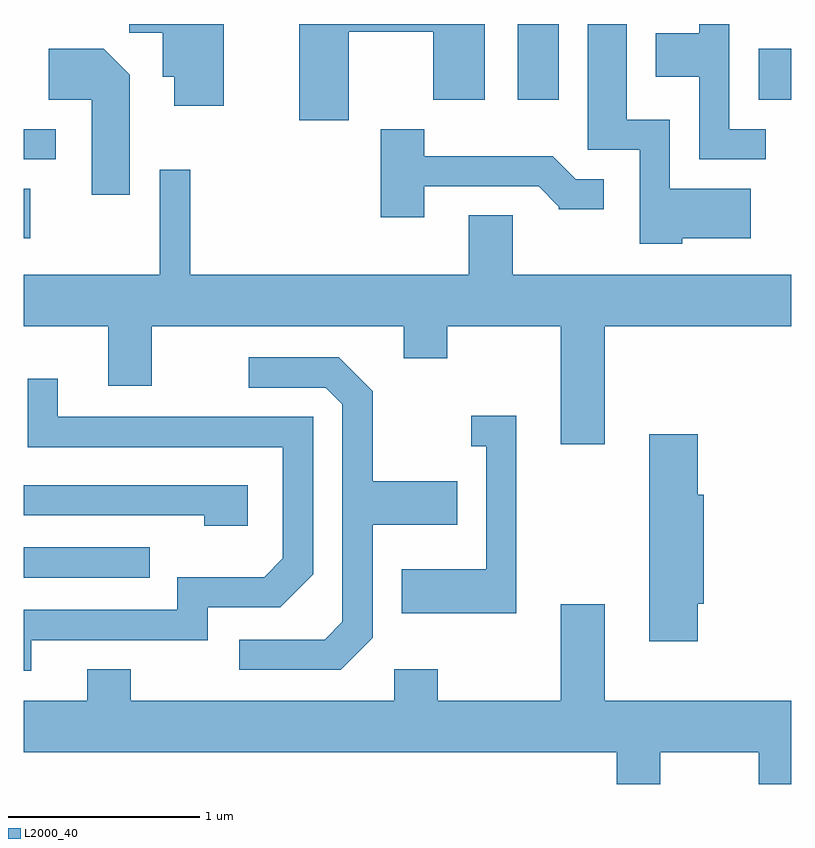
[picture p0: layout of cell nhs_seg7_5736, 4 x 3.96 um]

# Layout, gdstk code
import gdstk
lib = gdstk.Library(unit=1e-6, precision=1e-09)
def R(c, l, rs):  # rectangles x0, y0, x1, y1
    for r in rs: c.add(gdstk.rectangle(r[:2], r[2:], *l))
def P(c, l, *ps):  # polygons
    for p in ps: c.add(gdstk.Polygon(p, *l))
L2000_40 = (2000, 40)

nhs_seg7_5736 = lib.new_cell('nhs_seg7_5736')
R(nhs_seg7_5736, L2000_40, [(359.611,1797.366,360.268,1797.524), (359.611,1799.136,359.644,1799.394), (359.611,1799.546,359.778,1799.704), (362.186,1799.856,362.399,1800.252), (363.441,1799.856,363.611,1800.124)])
P(nhs_seg7_5736, L2000_40, [(363.044,1799.136),(363.399,1799.136),(363.399,1799.394),(362.979,1799.394),(362.979,1799.754),(362.754,1799.754),(362.754,1800.252),(362.551,1800.252),(362.551,1799.596),(362.821,1799.596),(362.821,1799.106),(363.044,1799.106)],
  [(363.478,1799.704),(363.289,1799.704),(363.289,1800.252),(363.131,1800.252),(363.131,1800.204),(362.906,1800.204),(362.906,1799.976),(363.131,1799.976),(363.131,1799.546),(363.478,1799.546)],
  [(361.304,1800.211),(361.746,1800.211),(361.746,1799.856),(362.014,1799.856),(362.014,1800.252),(361.046,1800.252),(361.046,1799.751),(361.304,1799.751)],
  [(360.654,1800.252),(360.161,1800.252),(360.161,1800.206),(360.336,1800.206),(360.336,1799.976),(360.396,1799.976),(360.396,1799.826),(360.654,1799.826)],
  [(360.164,1799.987),(360.027,1800.124),(359.741,1800.124),(359.741,1799.856),(359.966,1799.856),(359.966,1799.361),(360.164,1799.361)],
  [(361.699,1799.406),(362.294,1799.406),(362.4,1799.3),(362.4,1799.286),(362.633,1799.286),(362.633,1799.444),(362.487,1799.444),(362.367,1799.564),(361.699,1799.564),(361.699,1799.704),(361.471,1799.704),(361.471,1799.246),(361.699,1799.246)],
  [(362.639,1798.676),(363.611,1798.676),(363.611,1798.944),(362.159,1798.944),(362.159,1799.254),(361.931,1799.254),(361.931,1798.944),(360.479,1798.944),(360.479,1799.493),(360.321,1799.493),(360.321,1798.944),(359.611,1798.944),(359.611,1798.676),(360.051,1798.676),(360.051,1798.366),(360.279,1798.366),(360.279,1798.676),(361.591,1798.676),(361.591,1798.511),(361.819,1798.511),(361.819,1798.676),(362.411,1798.676),(362.411,1798.061),(362.639,1798.061)],
  [(361.429,1797.054),(361.429,1797.641),(361.869,1797.641),(361.869,1797.869),(361.429,1797.869),(361.429,1798.337),(361.252,1798.514),(360.783,1798.514),(360.783,1798.356),(361.184,1798.356),(361.271,1798.269),(361.271,1797.137),(361.179,1797.044),(360.733,1797.044),(360.733,1796.886),(361.262,1796.886)],
  [(359.649,1797.041),(360.569,1797.041),(360.569,1797.211),(360.947,1797.211),(361.119,1797.384),(361.119,1798.204),(359.789,1798.204),(359.789,1798.403),(359.631,1798.403),(359.631,1798.046),(360.961,1798.046),(360.961,1797.467),(360.864,1797.369),(360.411,1797.369),(360.411,1797.199),(359.611,1797.199),(359.611,1796.881),(359.649,1796.881)],
  [(362.179,1798.209),(361.943,1798.209),(361.943,1798.051),(362.021,1798.051),(362.021,1797.409),(361.581,1797.409),(361.581,1797.181),(362.179,1797.181)],
  [(363.124,1797.231),(363.154,1797.231),(363.154,1797.799),(363.124,1797.799),(363.124,1798.114),(362.871,1798.114),(362.871,1797.036),(363.124,1797.036)],
  [(360.779,1797.849),(359.611,1797.849),(359.611,1797.691),(360.551,1797.691),(360.551,1797.636),(360.779,1797.636)],
  [(362.929,1796.456),(363.441,1796.456),(363.441,1796.291),(363.611,1796.291),(363.611,1796.724),(362.639,1796.724),(362.639,1797.229),(362.411,1797.229),(362.411,1796.724),(361.769,1796.724),(361.769,1796.889),(361.541,1796.889),(361.541,1796.724),(360.169,1796.724),(360.169,1796.889),(359.941,1796.889),(359.941,1796.724),(359.611,1796.724),(359.611,1796.456),(362.701,1796.456),(362.701,1796.291),(362.929,1796.291)])

lib.write_gds('nhs_seg7_5736.gds')
